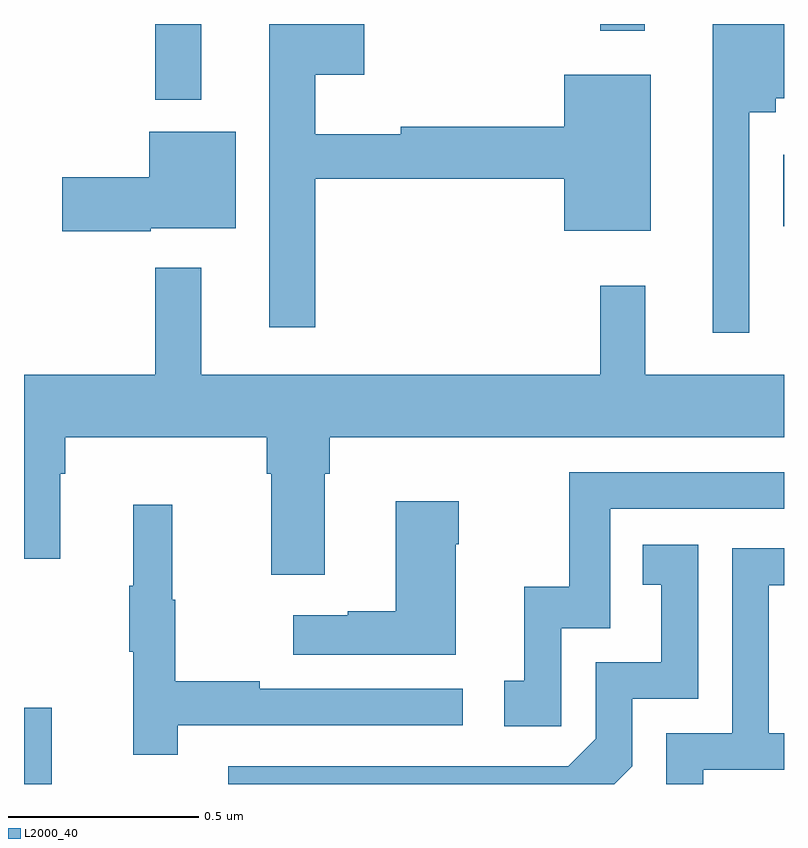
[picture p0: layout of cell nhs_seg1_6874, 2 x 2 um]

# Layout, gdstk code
import gdstk
lib = gdstk.Library(unit=1e-6, precision=1e-09)
def R(c, l, rs):  # rectangles x0, y0, x1, y1
    for r in rs: c.add(gdstk.rectangle(r[:2], r[2:], *l))
def P(c, l, *ps):  # polygons
    for p in ps: c.add(gdstk.Polygon(p, *l))
L2000_40 = (2000, 40)

nhs_seg1_6874 = lib.new_cell('nhs_seg1_6874')
R(nhs_seg1_6874, L2000_40, [(197,504.199,197.073,504.4), (198.998,505.667,199,505.855), (197.346,506,197.467,506.199), (198.517,506.181,198.634,506.199)])
P(nhs_seg1_6874, L2000_40, [(197.767,505.792),(198.422,505.792),(198.422,505.655),(198.649,505.655),(198.649,506.065),(198.422,506.065),(198.422,505.928),(197.992,505.928),(197.992,505.909),(197.767,505.909),(197.767,506.066),(197.896,506.066),(197.896,506.199),(197.645,506.199),(197.645,505.401),(197.767,505.401)],
  [(198.909,505.967),(198.978,505.967),(198.978,506.003),(199,506.003),(199,506.199),(198.812,506.199),(198.812,505.386),(198.909,505.386)],
  [(197.334,505.661),(197.557,505.661),(197.557,505.915),(197.33,505.915),(197.33,505.796),(197.1,505.796),(197.1,505.654),(197.334,505.654)],
  [(199,505.276),(198.635,505.276),(198.635,505.51),(198.517,505.51),(198.517,505.276),(197.467,505.276),(197.467,505.558),(197.346,505.558),(197.346,505.276),(197,505.276),(197,504.792),(197.095,504.792),(197.095,505.016),(197.108,505.016),(197.108,505.112),(197.639,505.112),(197.639,505.016),(197.651,505.016),(197.651,504.75),(197.791,504.75),(197.791,505.016),(197.804,505.016),(197.804,505.112),(199,505.112)],
  [(198.414,504.609),(198.543,504.609),(198.543,504.924),(199,504.924),(199,505.02),(198.435,505.02),(198.435,504.718),(198.317,504.718),(198.317,504.471),(198.264,504.471),(198.264,504.351),(198.414,504.351)],
  [(198.136,504.83),(198.144,504.83),(198.144,504.943),(197.978,504.943),(197.978,504.653),(197.852,504.653),(197.852,504.643),(197.709,504.643),(197.709,504.539),(198.136,504.539)],
  [(197.405,504.354),(198.154,504.354),(198.154,504.45),(197.621,504.45),(197.621,504.47),(197.398,504.47),(197.398,504.684),(197.39,504.684),(197.39,504.934),(197.288,504.934),(197.288,504.721),(197.277,504.721),(197.277,504.547),(197.288,504.547),(197.288,504.276),(197.405,504.276)],
  [(198.6,504.246),(198.6,504.423),(198.774,504.423),(198.774,504.829),(198.628,504.829),(198.628,504.723),(198.677,504.723),(198.677,504.519),(198.504,504.519),(198.504,504.318),(198.432,504.246),(197.538,504.246),(197.538,504.199),(198.553,504.199)],
  [(198.787,504.237),(199,504.237),(199,504.333),(198.96,504.333),(198.96,504.722),(199,504.722),(199,504.819),(198.864,504.819),(198.864,504.333),(198.69,504.333),(198.69,504.199),(198.787,504.199)])

lib.write_gds('nhs_seg1_6874.gds')
